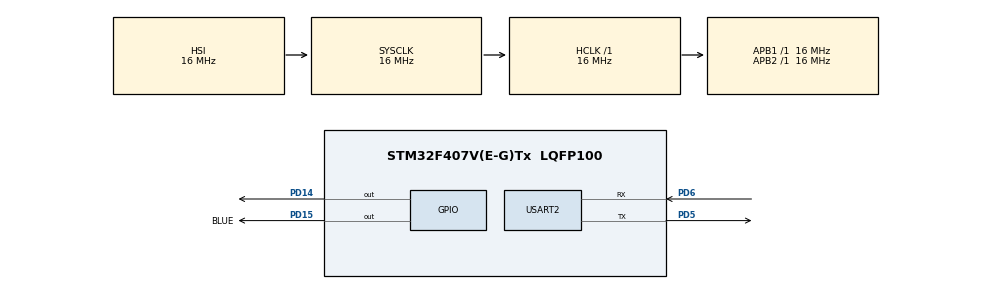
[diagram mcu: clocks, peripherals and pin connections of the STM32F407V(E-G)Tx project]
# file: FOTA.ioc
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Mcu.Family=STM32F4
Mcu.Name=STM32F407V(E-G)Tx
Mcu.Package=LQFP100
NVIC.PriorityGroup=NVIC_PRIORITYGROUP_4
NVIC.USART2_IRQn=true\:0\:0\:false\:false\:true\:true\:true\:true
PD14.Signal=GPIO_Output
PD15.GPIO_Label=BLUE
PD15.Signal=GPIO_Output
PD5.Mode=Asynchronous
PD5.Signal=USART2_TX
PD6.Mode=Asynchronous
PD6.Signal=USART2_RX
ProjectManager.HeapSize=0x200
ProjectManager.StackSize=0x400
ProjectManager.TargetToolchain=STM32CubeIDE
RCC.AHBFreq_Value=16000000
RCC.APB1Freq_Value=16000000
RCC.APB2Freq_Value=16000000
RCC.CortexFreq_Value=16000000
RCC.HSE_VALUE=25000000
RCC.HSI_VALUE=16000000
RCC.LSE_VALUE=32768
RCC.SYSCLKFreq_VALUE=16000000
RCC.VCOOutputFreq_Value=192000000
USART2.VirtualMode=VM_ASYNC
board=custom

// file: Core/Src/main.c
/* USER CODE BEGIN Header */
/**
  ******************************************************************************
  * @file           : main.c
  * @brief          : Main program body
  ******************************************************************************
  * @attention
  *
  * Copyright (c) 2025 STMicroelectronics.
  * All rights reserved.
  *
  * This software is licensed under terms that can be found in the LICENSE file
  * in the root directory of this software component.
  * If no LICENSE file comes with this software, it is provided AS-IS.
  *
  ******************************************************************************
  */
/* USER CODE END Header */
#include "main.h"

/* USER CODE BEGIN Includes */
#include "OTA.h"
#include "string.h"
#include "UART.h"
#include "Flash.h"
#include "Global.h"
/* USER CODE END Includes */

UART_HandleTypeDef huart2;

void SystemClock_Config(void);
static void MX_GPIO_Init(void);
static void MX_USART2_UART_Init(void);

/* USER CODE BEGIN 0 */
//uint32_t test = 0;
/* USER CODE END 0 */

int main(void)
{

  /* MCU Configuration--------------------------------------------------------*/

  /* Reset of all peripherals, Initializes the Flash interface and the Systick. */
  HAL_Init();

  /* Configure the system clock */
  SystemClock_Config();

  /* Initialize all configured peripherals */
  MX_GPIO_Init();
  MX_USART2_UART_Init();
  /* USER CODE BEGIN 2 */
//  Flash_Read_Data(0x08042FA4, &test, 1);

  uint32_t rx= 0;
  Flash_Read_Data(FLAG_ADDRESS,&rx, 1);
  if(rx == 1){
	  Copy_To_Application(SLOT1);
	  Jump_To_Application(ADDRESS);
  }
  else if(rx == 2){
	  Copy_To_Application(SLOT2);
	  Jump_To_Application(ADDRESS);
  }
  else if(rx == 10){
	  uint8_t data[] = "OTA ENTER";
	  HAL_UART_Transmit(&huart2, data, strlen((char *)data),100);
  }
  else{
	  Jump_To_Application(ADDRESS);
  }
  HAL_UART_Receive_IT(&huart2, &rx_data, 1);
//  Jump_To_Application(ADDRESS);

  /* USER CODE END 2 */

  /* Infinite loop */
  while (1)
  {

  }
}

void SystemClock_Config(void)
{
  RCC_OscInitTypeDef RCC_OscInitStruct = {0};
  RCC_ClkInitTypeDef RCC_ClkInitStruct = {0};

  /** Configure the main internal regulator output voltage
  */
  __HAL_RCC_PWR_CLK_ENABLE();
  __HAL_PWR_VOLTAGESCALING_CONFIG(PWR_REGULATOR_VOLTAGE_SCALE1);

  /** Initializes the RCC Oscillators according to the specified parameters
  * in the RCC_OscInitTypeDef structure.
  */
  RCC_OscInitStruct.OscillatorType = RCC_OSCILLATORTYPE_HSI;
  RCC_OscInitStruct.HSIState = RCC_HSI_ON;
  RCC_OscInitStruct.HSICalibrationValue = RCC_HSICALIBRATION_DEFAULT;
  RCC_OscInitStruct.PLL.PLLState = RCC_PLL_NONE;
  if (HAL_RCC_OscConfig(&RCC_OscInitStruct) != HAL_OK)
  {
    Error_Handler();
  }

  /** Initializes the CPU, AHB and APB buses clocks
  */
  RCC_ClkInitStruct.ClockType = RCC_CLOCKTYPE_HCLK|RCC_CLOCKTYPE_SYSCLK
                              |RCC_CLOCKTYPE_PCLK1|RCC_CLOCKTYPE_PCLK2;
  RCC_ClkInitStruct.SYSCLKSource = RCC_SYSCLKSOURCE_HSI;
  RCC_ClkInitStruct.AHBCLKDivider = RCC_SYSCLK_DIV1;
  RCC_ClkInitStruct.APB1CLKDivider = RCC_HCLK_DIV1;
  RCC_ClkInitStruct.APB2CLKDivider = RCC_HCLK_DIV1;

  if (HAL_RCC_ClockConfig(&RCC_ClkInitStruct, FLASH_LATENCY_0) != HAL_OK)
  {
    Error_Handler();
  }
}

static void MX_USART2_UART_Init(void)
{

  huart2.Instance = USART2;
  huart2.Init.BaudRate = 115200;
  huart2.Init.WordLength = UART_WORDLENGTH_8B;
  huart2.Init.StopBits = UART_STOPBITS_1;
  huart2.Init.Parity = UART_PARITY_NONE;
  huart2.Init.Mode = UART_MODE_TX_RX;
  huart2.Init.HwFlowCtl = UART_HWCONTROL_NONE;
  huart2.Init.OverSampling = UART_OVERSAMPLING_16;
  if (HAL_UART_Init(&huart2) != HAL_OK)
  {
    Error_Handler();
  }

}

static void MX_GPIO_Init(void)
{
  GPIO_InitTypeDef GPIO_InitStruct = {0};

  /* GPIO Ports Clock Enable */
  __HAL_RCC_GPIOD_CLK_ENABLE();

  /*Configure GPIO pin Output Level */
  HAL_GPIO_WritePin(GPIOD, GPIO_PIN_14|BLUE_Pin, GPIO_PIN_RESET);

  /*Configure GPIO pins : PD14 BLUE_Pin */
  GPIO_InitStruct.Pin = GPIO_PIN_14|BLUE_Pin;
  GPIO_InitStruct.Mode = GPIO_MODE_OUTPUT_PP;
  GPIO_InitStruct.Pull = GPIO_NOPULL;
  GPIO_InitStruct.Speed = GPIO_SPEED_FREQ_LOW;
  HAL_GPIO_Init(GPIOD, &GPIO_InitStruct);

}

void Error_Handler(void)
{
  __disable_irq();
  while (1)
  {
  }
}
